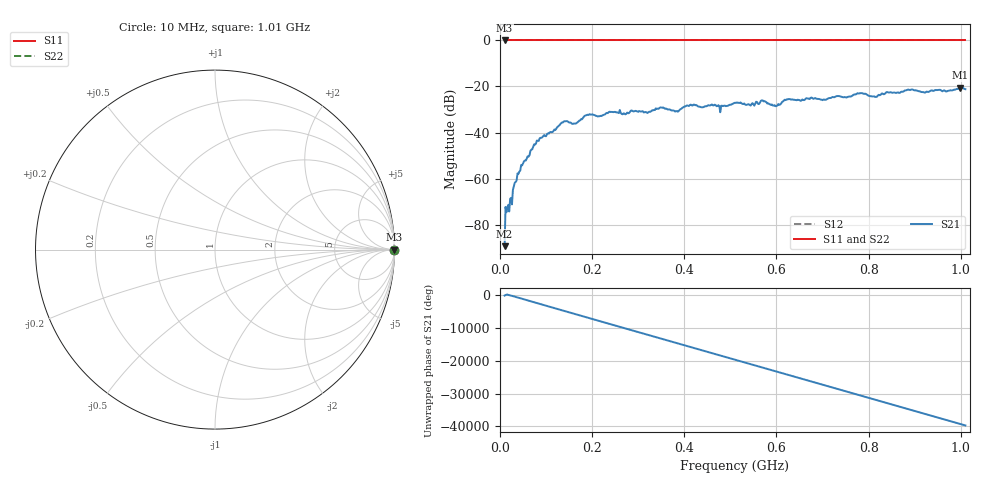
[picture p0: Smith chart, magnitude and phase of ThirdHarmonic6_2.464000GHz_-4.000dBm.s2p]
! 8/17/2025 4:29:10 AM
! C:\ANRITSUVNA\TEMP\TEMP.S2P
! CHANNEL.1
! TR.MEASUREMENT
! RAW.DATA
! RF.CORRECTION.OFF
! AVERAGING.OFF
! IF.BANDWIDTH: 5KHZ
! SWEEPTYPE:  FREQ.SWEEP(Linear)
! Reference Plane Port Info
! PORT:  PORT1  PORT2
! DISTANCE:  0  m  0  m
! TIME:  0  s  0  s
! PHASE.OFFSET:  0  deg.  0  deg.
! LOSS:  0  dB  0  dB
! REF.LOSS:  0  dB  0  dB
! REF.FREQ:  0  Hz  0  Hz
! Power Info
! POWER:  -20  dBm  -20  dBm
! EFF.POWER:  -20  dBm  -20  dBm
! SOURCE.ATTEN:  0  dB  0  dB
! TEST.ATTEN:  0  dB  0  dB
# GHZ S RI R 50.0
! FREQ.GHZ  S11RE  S11IM  S21RE  S21IM  S12RE  S12IM  S22RE  S22IM
!; PortSelection: Port_12
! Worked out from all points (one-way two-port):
!   501 points, 10 MHz to 1.01 GHz, reference 50 ohm
!   highest |S21| = -20.48 dB at 998 MHz (marker M1); lowest = -89.4 dB at 10 MHz (marker M2)
!   lowest |S11| = 0.0 dB at 10 MHz (marker M3)
!   |S11| at or under -10 dB: nowhere
!   |S22| runs from 0.0 to 0.0 dB; largest |S21 - S12| = 1.1
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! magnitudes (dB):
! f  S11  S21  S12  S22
! 10 MHz  0.0  -89.4  0.0  0.0
! 42 MHz  0.0  -57.0  0.0  0.0
! 78 MHz  0.0  -44.8  0.0  0.0
! 136 MHz  0.0  -35.7  0.0  0.0
! 162 MHz  0.0  -36.1  0.0  0.0
! 178 MHz  0.0  -34.2  0.0  0.0
! 192 MHz  0.0  -32.4  0.0  0.0
! 344 MHz  0.0  -29.7  0.0  0.0
! 384 MHz  0.0  -30.7  0.0  0.0
! 410 MHz  0.0  -28.5  0.0  0.0
! 480 MHz  0.0  -28.4  0.0  0.0
! 510 MHz  0.0  -27.1  0.0  0.0
! 548 MHz  0.0  -27.2  0.0  0.0
! 570 MHz  0.0  -26.0  0.0  0.0
! 598 MHz  0.0  -28.6  0.0  0.0
! 622 MHz  0.0  -25.6  0.0  0.0
! 678 MHz  0.0  -25.0  0.0  0.0
! 780 MHz  0.0  -23.0  0.0  0.0
! 814 MHz  0.0  -24.5  0.0  0.0
! 844 MHz  0.0  -22.6  0.0  0.0
! 998 MHz  0.0  -20.5  0.0  0.0
! 1.01 GHz  0.0  -21.2  0.0  0.0
